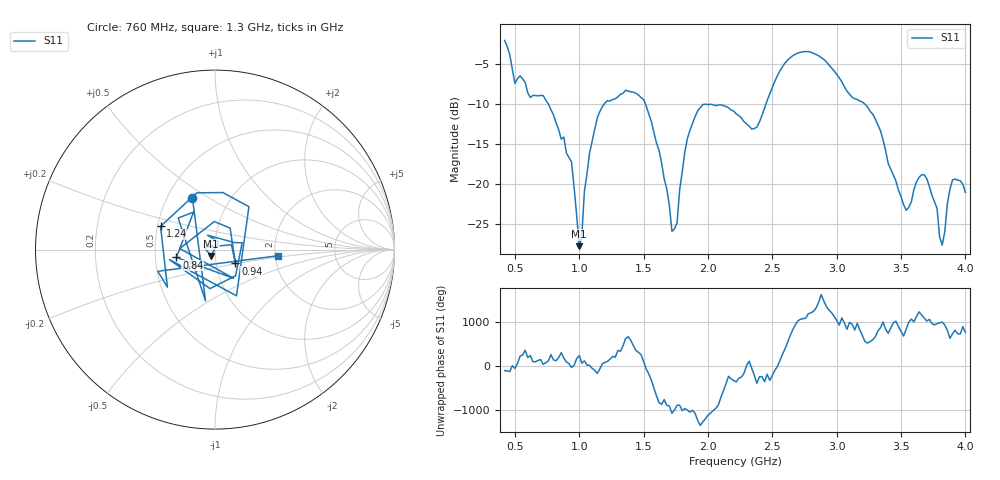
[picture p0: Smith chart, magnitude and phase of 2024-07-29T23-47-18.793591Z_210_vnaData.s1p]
!Created with skrf (http://scikit-rf.org).
# Hz S RI R 50.0
!freq ReS11 ImS11
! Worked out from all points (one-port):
!   180 points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, 420 MHz to 4 GHz, reference 50 ohm
!   lowest |S11| = -27.8 dB at 1 GHz (marker M1), VSWR 1.09, Z = 47.8 - j3.33 ohm
!   |S11| at or under -10 dB: 759.9 MHz to 1.194 GHz (434.4 MHz wide, 44.5 % of centre); 1.514 GHz to 2.45 GHz (936.2 MHz wide, 47.2 % of centre); 3.218 GHz to end of sweep
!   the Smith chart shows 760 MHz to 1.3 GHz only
!   S11 on the Smith chart (normalised r, x): 760 MHz: 0.67, +0.43; 840 MHz: 0.64, -0.06; 940 MHz: 1.24, -0.20; 1.24 GHz: 0.52, +0.15; 1.3 GHz: 2.06, -0.16
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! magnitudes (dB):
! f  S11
! 420 MHz  -2.1
! 500 MHz  -7.4
! 760 MHz  -10.0
! 840 MHz  -13.2
! 880 MHz  -14.1
! 940 MHz  -17.2
! 1 GHz  -27.8
! 1.08 GHz  -16.1
! 1.24 GHz  -9.6
! 1.3 GHz  -9.1
! 1.32 GHz  -8.8
! 1.52 GHz  -10.2
! 1.62 GHz  -15.8
! 1.72 GHz  -25.9
! 1.76 GHz  -24.8
! 1.78 GHz  -20.7
! 1.92 GHz  -10.9
! 2.22 GHz  -11.2
! 2.38 GHz  -12.9
! 2.66 GHz  -4.0
! 2.9 GHz  -4.4
! 3.12 GHz  -9.2
! 3.3 GHz  -11.9
! 3.56 GHz  -22.9
! 3.68 GHz  -18.8
! 3.82 GHz  -27.6
! 3.9 GHz  -19.5
! 4 GHz  -21.0
